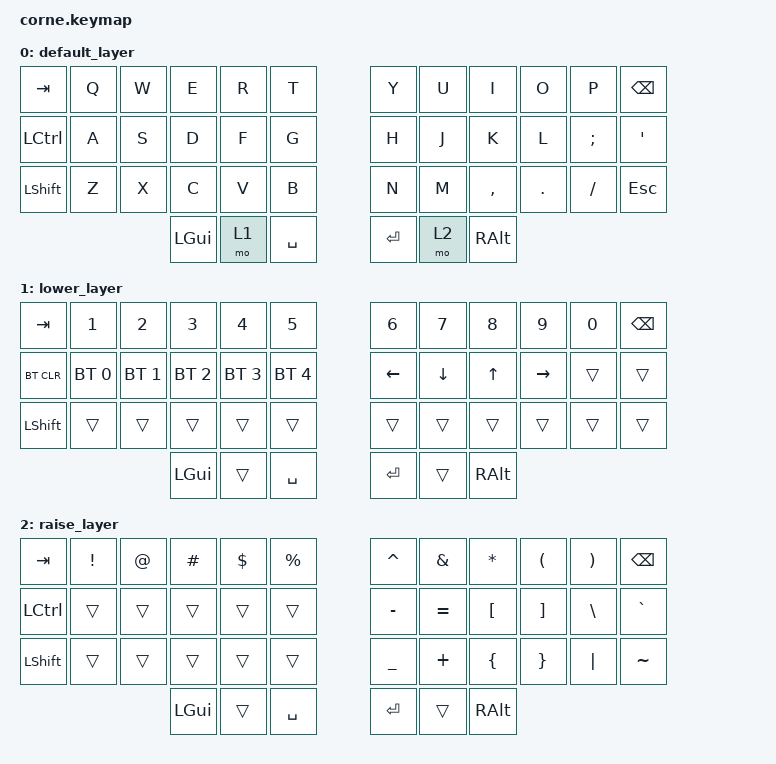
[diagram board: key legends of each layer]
/*
 * Copyright (c) 2020 The ZMK Contributors
 *
 * SPDX-License-Identifier: MIT
 */
#include <behaviors.dtsi>
#include <dt-bindings/zmk/bt.h>
#include <dt-bindings/zmk/keys.h>
#include <dt-bindings/zmk/outputs.h>
#include <dt-bindings/zmk/input_transform.h>
#include <input/processors.dtsi>


/ {
    input_processors {
        zip_scroll_scaler: zip_scroll_scaler {
            compatible = "zmk,input-processor-scaler";
            #input-processor-cells = <2>;
            type = <INPUT_EV_REL>;
            codes = <INPUT_REL_WHEEL INPUT_REL_HWHEEL>;
            track-remainders;
        };
    };
};


// cirque trackpad input&layer control
&glidepoint_listener {
    input-processors = <&zip_xy_transform (INPUT_TRANSFORM_XY_SWAP | INPUT_TRANSFORM_X_INVERT | INPUT_TRANSFORM_Y_INVERT)>, <&zip_xy_scaler 5 1>;

    lowspeedmode {
        layers = <NUM>;
        input-processors = <&zip_xy_transform (INPUT_TRANSFORM_XY_SWAP | INPUT_TRANSFORM_X_INVERT | INPUT_TRANSFORM_Y_INVERT)>, <&zip_xy_scaler 3 1>;
    };
    scroller {
        layers = <NAV>;
        input-processors = <&zip_xy_to_scroll_mapper>,<&zip_scroll_transform (INPUT_TRANSFORM_XY_SWAP)>,<&zip_scroll_scaler 1 32>;
    };
};
/ {
        keymap {
                compatible = "zmk,keymap";

                default_layer {
// -----------------------------------------------------------------------------------------
// |  TAB |  Q  |  W  |  E  |  R  |  T  |   |  Y  |  U   |  I  |  O  |  P  | BSPC |
// | CTRL |  A  |  S  |  D  |  F  |  G  |   |  H  |  J   |  K  |  L  |  ;  |  '   |
// | SHFT |  Z  |  X  |  C  |  V  |  B  |   |  N  |  M   |  ,  |  .  |  /  | ESC  |
//                    | GUI | LWR | SPC |   | ENT | RSE  | ALT |
                        bindings = <
   &kp TAB   &kp Q &kp W &kp E &kp R &kp T   &kp Y &kp U  &kp I     &kp O   &kp P    &kp BSPC
   &kp LCTRL &kp A &kp S &kp D &kp F &kp G   &kp H &kp J  &kp K     &kp L   &kp SEMI &kp SQT
   &kp LSHFT &kp Z &kp X &kp C &kp V &kp B   &kp N &kp M  &kp COMMA &kp DOT &kp FSLH &kp ESC
                  &kp LGUI &mo 1 &kp SPACE   &kp RET &mo 2 &kp RALT
                        >;
                };
                lower_layer {
// -----------------------------------------------------------------------------------------
// |  TAB |  1  |  2  |  3  |  4  |  5  |   |  6  |  7  |  8  |  9  |  0  | BSPC |
// | BTCLR| BT1 | BT2 | BT3 | BT4 | BT5 |   | LFT | DWN |  UP | RGT |     |      |
// | SHFT |     |     |     |     |     |   |     |     |     |     |     |      |
//                    | GUI |     | SPC |   | ENT |     | ALT |
                        bindings = <
   &kp TAB    &kp N1       &kp N2       &kp N3       &kp N4       &kp N5         &kp N6   &kp N7   &kp N8 &kp N9    &kp N0 &kp BSPC
   &bt BT_CLR &bt BT_SEL 0 &bt BT_SEL 1 &bt BT_SEL 2 &bt BT_SEL 3 &bt BT_SEL 4   &kp LEFT &kp DOWN &kp UP &kp RIGHT &trans &trans
   &kp LSHFT  &trans       &trans       &trans       &trans       &trans         &trans   &trans   &trans &trans    &trans &trans
                                    &kp LGUI     &trans       &kp SPACE      &kp RET  &trans   &kp RALT
                        >;
                };

                raise_layer {
// -----------------------------------------------------------------------------------------
// |  TAB |  !  |  @  |  #  |  $  |  %  |   |  ^  |  &  |  *  |  (  |  )  | BSPC |
// | CTRL |     |     |     |     |     |   |  -  |  =  |  [  |  ]  |  \  |  `   |
// | SHFT |     |     |     |     |     |   |  _  |  +  |  {  |  }  | "|" |  ~   |
//                    | GUI |     | SPC |   | ENT |     | ALT |
                        bindings = <
   &kp  TAB  &kp EXCL &kp AT &kp HASH &kp DLLR &kp PRCNT   &kp CARET &kp AMPS  &kp ASTRK &kp LPAR &kp RPAR &kp BSPC
   &kp LCTRL &trans   &trans &trans   &trans   &trans      &kp MINUS &kp EQUAL &kp LBKT  &kp RBKT &kp BSLH &kp GRAVE
   &kp LSHFT &trans   &trans &trans   &trans   &trans      &kp UNDER &kp PLUS  &kp LBRC  &kp RBRC &kp PIPE &kp TILDE
                             &kp LGUI &trans   &kp SPACE   &kp RET   &trans    &kp RALT
                        >;
                };
        };
};
